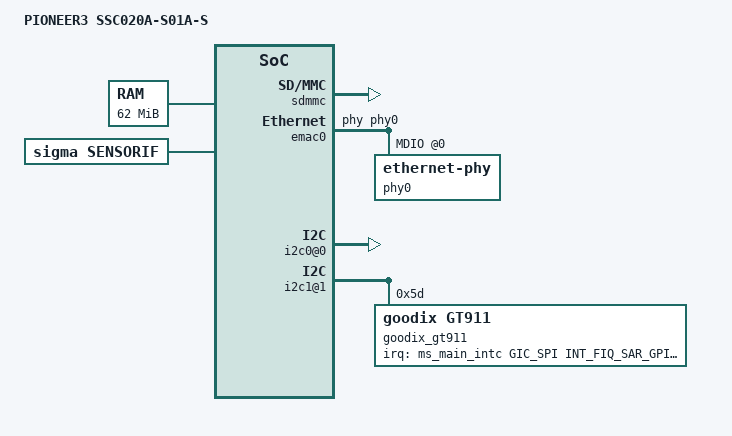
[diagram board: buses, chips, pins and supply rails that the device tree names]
/*
* pioneer3-ssc01xa.dts- Sigmastar
*
* Copyright (c) [2019~2020] SigmaStar Technology.
*
*
* This software is licensed under the terms of the GNU General Public
* License version 2, as published by the Free Software Foundation, and
* may be copied, distributed, and modified under those terms.
*
* This program is distributed in the hope that it will be useful,
* but WITHOUT ANY WARRANTY; without even the implied warranty of
* MERCHANTABILITY or FITNESS FOR A PARTICULAR PURPOSE.  See the
* GNU General Public License version 2 for more details.
*
*/

/dts-v1/;
#include "pioneer3.dtsi"

#include "pioneer3-ssc021a-s01a-qfn68-bench-padmux.dtsi"

/ {
    model = "PIONEER3 SSC020A-S01A-S";
    compatible = "sstar,pioneer3";

    /* memory setting will be replaced with LX_MEM*/
    memory {
        reg = <0x20000000 0x03E00000>;
    };
	/* this cmdline will be replaced with uboot bootargs*/
    chosen {
        bootargs = "console=ttyS0,115200n8r androidboot.console=ttyS0 root=/dev/mtdblock2 init=/linuxrc cma=16m earlyprintk";
    };

    /*!!IMPORTANT!! The reserved memory must be 1MB aligned*/
    reserved-memory {
        #address-cells = <1>;
        #size-cells = <1>;
        ranges;

        /*cma0 {
            compatible = "shared-dma-pool";
            size = <0x400000>;
            reusable;
            alignment = <0x1000>;
            linux,cma-default;
        };*/
    };
    soc {
            sdmmc {
                compatible = "sstar,sdmmc";
                slot-fakecdzs = <0>,<0>,<0>;
                //QFN68-CFG
                slot-pad-orders = <1>,<0>,<0>;
                slot-cdzs-gpios = <PAD_TTL0>,<0>,<0>;
                slot-pwr-gpios = <PAD_TTL7>,<0>,<0>;
                slot-sdio-use = <0>,<0>,<0>;
                slot-removable = <1>,<1>,<1>;
            };

            sensorif: sensorif {
                compatible = "sigma,sensorif";
                sensorif_grp0_i2c = <1>;
                sensorif_grp1_i2c = <1>;
            };

            csi {
                /* mipi0 2lane setting */
                /* Config max lane number */
                csi_sr0_lane_num = <1>;  // 1: for GC1054 1 lane;   2: for imx307 2 lane
                /* Config lane selection */
                csi_sr0_lane_select = <1 0 2 3 4>;   //<clk d0 d1 d2 d3>; <1 0 2 3 4> for GC1054, <0 1 2 3 4> for imx307
                //csi_sr1_lane_select = <1 0 2 3 4>;
                /* Config lane P/N swap */
                csi_sr0_lane_pn_swap = <1 1 1 1 1>;
                //csi_sr1_lane_pn_swap = <1 1 1 1 1>;
            };

            vif: vif {
                compatible = "sstar,vif";

                // Config sensor 0 pad mux
                vif_sr0_par_mode = <3>;
                vif_sr0_parallel_rst_mode = <1>;
                vif_sr0_parallel_pdn_mode = <1>;
                vif_sr0_mclk_mode = <1>;
                vif_sr0_mipi_mode = <1>;
                vif_sr0_mipi_ctrl_mode = <2>;
                vif_sr0_bt656_mode = <4>;

                // Config sensor 1 pad mux
/*
                vif_sr1_par_mode = <0>;
                vif_sr1_mipi_mode = <1>;
                vif_sr1_mipi_ctrl_mode = <1>;
                vif_sr1_bt656_mode = <2>;
*/
                status = "ok";
            };

            emac0: emac0 {
                compatible = "sstar-emac";
                reg = <0x1F2A2000 0x800>, <0x1F343C00 0x600>, <0x1F006200 0x600>; //for internal phy
                pad = <0x1F2079B8 0x000F 0x0000>;  //for internal phy
                status = "ok";
                phy-handle = <&phy0>;
                mdio-bus {
                    phy0: ethernet-phy@0 {
                        phy-mode = "mii";
                    };
                };
            };

            //for emac0 rmii
/*
            emac0: emac0 {
                compatible = "sstar-emac";
                reg = <0x1F2A2000 0x800>, <0x1F343C00 0x600>, <0x00000000 0x600>; //for external phy
                pad = <0x1F2079B8 0x000F 0x000B>;  //for external phy
                status = "ok";
                phy-mode = "rmii";
                fixed-link = <0 1 100 0 0>;
            };
*/
            i2c0@0{
                compatible = "sstar,i2c";
                reg = <0x1F223000 0x200>,<0x1F207800 0x200>,<0x1F207000 0x200>;
                    #address-cells = <1>;
                    #size-cells = <0>;
                clocks = <&CLK_miic0>;
                i2c-group = <0>;
                i2c-speed = <5>; //0:25KHz, 1:50, 2:100, 3:200, 4:300, 5:400, 6:600, 7:800, 8:1000, 9:1500
                status = "ok";
                i2c-en-dma = <0>;
//                goodix_gt911@5D{
//                    compatible = "goodix,gt911";
//                    reg = <0x5D>;
//                    goodix_rst = <PAD_SAR_GPIO0>;
//                    goodix_int =  <PAD_SR_IO11>; // <>; //
//                    interrupts-extended = <&ms_gpi_intc INT_GPI_FIQ_PAD_SR_IO11>; //INT_GPI_FIQ_PAD_GPIO0>;
//                    interrupt-names = "goodix_int";
//                };
            };
	        i2c1@1{
	            compatible = "sstar,i2c";
	            reg = <0x1F223200 0x200>,<0x1F207800 0x200>,<0x1F207000 0x200>;
	                #address-cells = <1>;
	                #size-cells = <0>;
	            clocks = <&CLK_miic1>;
	            i2c-group = <1>;
	            i2c-speed = <4>; //0:25KHz, 1:50, 2:100, 3:200, 4:300, 5:400, 6:600, 7:800, 8:1000, 9:1500
				i2c-en-dma = <0>;
	            status = "ok";

                goodix_gt911@5D{
                    compatible = "goodix,gt911";
                    reg = <0x5D>;
                    goodix_rst = <PAD_SR_IO11>;
                    goodix_int = <PAD_SAR_GPIO0>;
                    interrupts-extended = <&ms_main_intc GIC_SPI INT_FIQ_SAR_GPIO_0 IRQ_TYPE_LEVEL_HIGH>;
                    interrupt-names = "goodix_int";
                };
            };
        };

};
